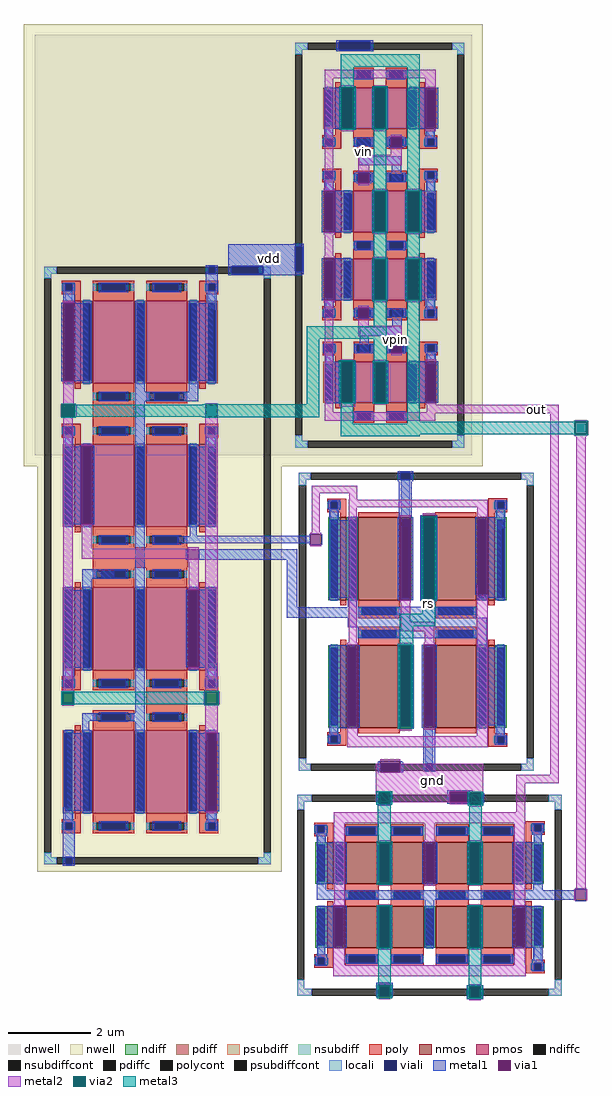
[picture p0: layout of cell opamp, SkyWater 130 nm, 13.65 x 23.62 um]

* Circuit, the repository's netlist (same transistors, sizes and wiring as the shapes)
* NGSPICE file created from opamp.ext - technology: sky130A

.subckt sky130_fd_pr__nfet_01v8_6MBC9T a_n29_n100# a_n247_n100# a_189_n100# a_n189_n188#
+ a_29_n188# VSUBS
X0 a_n29_n100# a_n189_n188# a_n247_n100# VSUBS sky130_fd_pr__nfet_01v8 ad=0.145 pd=1.29 as=0.29 ps=2.58 w=1 l=0.8
X1 a_189_n100# a_29_n188# a_n29_n100# VSUBS sky130_fd_pr__nfet_01v8 ad=0.29 pd=2.58 as=0.145 ps=1.29 w=1 l=0.8
.ends

.subckt sky130_fd_pr__nfet_01v8_SJFSNB a_n73_n100# a_15_n100# a_n15_n126# VSUBS
X0 a_15_n100# a_n15_n126# a_n73_n100# VSUBS sky130_fd_pr__nfet_01v8 ad=0.29 pd=2.58 as=0.29 ps=2.58 w=1 l=0.15
.ends

.subckt nmoscs2 d9 gnd d8
Xsky130_fd_pr__nfet_01v8_6MBC9T_0 gnd d8 d9 d8 d8 gnd sky130_fd_pr__nfet_01v8_6MBC9T
Xsky130_fd_pr__nfet_01v8_6MBC9T_1 gnd d9 d8 d8 d8 gnd sky130_fd_pr__nfet_01v8_6MBC9T
Xsky130_fd_pr__nfet_01v8_6MBC9T_2 gnd d8 d9 d8 d8 gnd sky130_fd_pr__nfet_01v8_6MBC9T
Xsky130_fd_pr__nfet_01v8_SJFSNB_0 d9 d9 d9 gnd sky130_fd_pr__nfet_01v8_SJFSNB
Xsky130_fd_pr__nfet_01v8_6MBC9T_3 gnd d9 d8 d8 d8 gnd sky130_fd_pr__nfet_01v8_6MBC9T
Xsky130_fd_pr__nfet_01v8_SJFSNB_1 d8 d8 d8 gnd sky130_fd_pr__nfet_01v8_SJFSNB
Xsky130_fd_pr__nfet_01v8_SJFSNB_2 d9 d9 d9 gnd sky130_fd_pr__nfet_01v8_SJFSNB
Xsky130_fd_pr__nfet_01v8_SJFSNB_3 d8 d8 d8 gnd sky130_fd_pr__nfet_01v8_SJFSNB
.ends

.subckt sky130_fd_pr__pfet_01v8_2ZH9AN a_15_n200# a_n15_n226# a_n73_n200# w_n109_n262#
X0 a_15_n200# a_n15_n226# a_n73_n200# w_n109_n262# sky130_fd_pr__pfet_01v8 ad=0.58 pd=4.58 as=0.58 ps=4.58 w=2 l=0.15
.ends

.subckt sky130_fd_pr__pfet_01v8_SDE6B7 a_29_n297# a_n287_n200# a_n229_n297# a_229_n200#
+ a_n29_n200# w_n323_n300#
X0 a_229_n200# a_29_n297# a_n29_n200# w_n323_n300# sky130_fd_pr__pfet_01v8 ad=0.58 pd=4.58 as=0.29 ps=2.29 w=2 l=1
X1 a_n29_n200# a_n229_n297# a_n287_n200# w_n323_n300# sky130_fd_pr__pfet_01v8 ad=0.29 pd=2.29 as=0.58 ps=4.58 w=2 l=1
.ends

.subckt pmoscs VDD D1 D2 D5
Xsky130_fd_pr__pfet_01v8_2ZH9AN_0 D5 D5 D5 VDD sky130_fd_pr__pfet_01v8_2ZH9AN
Xsky130_fd_pr__pfet_01v8_2ZH9AN_1 VDD VDD VDD VDD sky130_fd_pr__pfet_01v8_2ZH9AN
Xsky130_fd_pr__pfet_01v8_2ZH9AN_2 D2 D2 D2 VDD sky130_fd_pr__pfet_01v8_2ZH9AN
Xsky130_fd_pr__pfet_01v8_2ZH9AN_3 D2 D2 D2 VDD sky130_fd_pr__pfet_01v8_2ZH9AN
Xsky130_fd_pr__pfet_01v8_2ZH9AN_4 D1 D1 D1 VDD sky130_fd_pr__pfet_01v8_2ZH9AN
Xsky130_fd_pr__pfet_01v8_2ZH9AN_5 D1 D1 D1 VDD sky130_fd_pr__pfet_01v8_2ZH9AN
Xsky130_fd_pr__pfet_01v8_2ZH9AN_6 VDD VDD VDD VDD sky130_fd_pr__pfet_01v8_2ZH9AN
Xsky130_fd_pr__pfet_01v8_2ZH9AN_7 D5 D5 D5 VDD sky130_fd_pr__pfet_01v8_2ZH9AN
Xsky130_fd_pr__pfet_01v8_SDE6B7_0 VDD D5 D2 VDD VDD VDD sky130_fd_pr__pfet_01v8_SDE6B7
Xsky130_fd_pr__pfet_01v8_SDE6B7_1 D2 D1 D2 D2 VDD VDD sky130_fd_pr__pfet_01v8_SDE6B7
Xsky130_fd_pr__pfet_01v8_SDE6B7_2 D2 D2 D2 D1 VDD VDD sky130_fd_pr__pfet_01v8_SDE6B7
Xsky130_fd_pr__pfet_01v8_SDE6B7_3 D2 VDD VDD D5 VDD VDD sky130_fd_pr__pfet_01v8_SDE6B7
.ends

.subckt sky130_fd_pr__pfet_01v8_BHVYY6 w_n223_n200# a_n29_n100# a_n187_n100# a_29_n197#
+ a_n129_n197# a_129_n100#
X0 a_129_n100# a_29_n197# a_n29_n100# w_n223_n200# sky130_fd_pr__pfet_01v8 ad=0.29 pd=2.58 as=0.145 ps=1.29 w=1 l=0.5
X1 a_n29_n100# a_n129_n197# a_n187_n100# w_n223_n200# sky130_fd_pr__pfet_01v8 ad=0.145 pd=1.29 as=0.29 ps=2.58 w=1 l=0.5
.ends

.subckt sky130_fd_pr__pfet_01v8_2XUZHN a_n73_n100# w_n109_n162# a_15_n100# a_n15_n126#
X0 a_15_n100# a_n15_n126# a_n73_n100# w_n109_n162# sky130_fd_pr__pfet_01v8 ad=0.29 pd=2.58 as=0.29 ps=2.58 w=1 l=0.15
.ends

.subckt differential vdd d6 vin out vpin d5
Xsky130_fd_pr__pfet_01v8_BHVYY6_2 vdd d5 out vin vpin d6 sky130_fd_pr__pfet_01v8_BHVYY6
Xsky130_fd_pr__pfet_01v8_BHVYY6_3 vdd d5 d6 vpin vin out sky130_fd_pr__pfet_01v8_BHVYY6
Xsky130_fd_pr__pfet_01v8_2XUZHN_0 d6 vdd d6 d6 sky130_fd_pr__pfet_01v8_2XUZHN
Xsky130_fd_pr__pfet_01v8_2XUZHN_1 out vdd out out sky130_fd_pr__pfet_01v8_2XUZHN
Xsky130_fd_pr__pfet_01v8_2XUZHN_2 d6 vdd d6 d6 sky130_fd_pr__pfet_01v8_2XUZHN
Xsky130_fd_pr__pfet_01v8_2XUZHN_3 out vdd out out sky130_fd_pr__pfet_01v8_2XUZHN
Xsky130_fd_pr__pfet_01v8_2XUZHN_4 d6 vdd d6 d6 sky130_fd_pr__pfet_01v8_2XUZHN
Xsky130_fd_pr__pfet_01v8_2XUZHN_5 out vdd out out sky130_fd_pr__pfet_01v8_2XUZHN
Xsky130_fd_pr__pfet_01v8_2XUZHN_6 d6 vdd d6 d6 sky130_fd_pr__pfet_01v8_2XUZHN
Xsky130_fd_pr__pfet_01v8_2XUZHN_7 out vdd out out sky130_fd_pr__pfet_01v8_2XUZHN
Xsky130_fd_pr__pfet_01v8_BHVYY6_0 vdd d5 d6 vpin vin out sky130_fd_pr__pfet_01v8_BHVYY6
Xsky130_fd_pr__pfet_01v8_BHVYY6_1 vdd d5 out vin vpin d6 sky130_fd_pr__pfet_01v8_BHVYY6
.ends

.subckt sky130_fd_pr__nfet_01v8_Q6296P a_n286_n257# a_n86_n231# a_28_n231# a_n344_n231#
+ a_86_n257# a_286_n231# VSUBS
X0 a_n86_n231# a_n286_n257# a_n344_n231# VSUBS sky130_fd_pr__nfet_01v8 ad=0.58 pd=4.58 as=0.58 ps=4.58 w=2 l=1
X1 a_286_n231# a_86_n257# a_28_n231# VSUBS sky130_fd_pr__nfet_01v8 ad=0.58 pd=4.58 as=0.58 ps=4.58 w=2 l=1
.ends

.subckt sky130_fd_pr__nfet_01v8_4HFSKE a_15_n200# a_n15_n226# a_n73_n200# VSUBS
X0 a_15_n200# a_n15_n226# a_n73_n200# VSUBS sky130_fd_pr__nfet_01v8 ad=0.58 pd=4.58 as=0.58 ps=4.58 w=2 l=0.15
.ends

.subckt sky130_fd_pr__nfet_01v8_TC9PLT a_15_n200# a_n15_n226# a_n73_n200# VSUBS
X0 a_15_n200# a_n15_n226# a_n73_n200# VSUBS sky130_fd_pr__nfet_01v8 ad=0.58 pd=4.58 as=0.58 ps=4.58 w=2 l=0.15
.ends

.subckt sky130_fd_pr__nfet_01v8_27FZYL a_n286_n257# a_286_n169# a_n86_n169# a_86_n257#
+ a_28_n169# a_n344_n169# VSUBS
X0 a_286_n169# a_86_n257# a_28_n169# VSUBS sky130_fd_pr__nfet_01v8 ad=0.58 pd=4.58 as=0.58 ps=4.58 w=2 l=1
X1 a_n86_n169# a_n286_n257# a_n344_n169# VSUBS sky130_fd_pr__nfet_01v8 ad=0.58 pd=4.58 as=0.58 ps=4.58 w=2 l=1
.ends

.subckt nmoscs d3 rs d4 gnd
Xsky130_fd_pr__nfet_01v8_Q6296P_0 d3 rs gnd d4 d3 d3 gnd sky130_fd_pr__nfet_01v8_Q6296P
Xsky130_fd_pr__nfet_01v8_4HFSKE_0 d3 d3 d3 gnd sky130_fd_pr__nfet_01v8_4HFSKE
Xsky130_fd_pr__nfet_01v8_TC9PLT_0 d4 d4 d4 gnd sky130_fd_pr__nfet_01v8_TC9PLT
Xsky130_fd_pr__nfet_01v8_TC9PLT_1 d4 d4 d4 gnd sky130_fd_pr__nfet_01v8_TC9PLT
Xsky130_fd_pr__nfet_01v8_27FZYL_0 d3 d4 gnd d3 rs d3 gnd sky130_fd_pr__nfet_01v8_27FZYL
Xsky130_fd_pr__nfet_01v8_TC9PLT_2 d3 d3 d3 gnd sky130_fd_pr__nfet_01v8_TC9PLT
.ends

.subckt opamp gnd out vpin rs vin
Xnmoscs2_0 out gnd nmoscs2_0/d8 nmoscs2
Xpmoscs_0 vin pmoscs_0/D1 pmoscs_0/D2 pmoscs_0/D5 pmoscs
Xdifferential_0 vin nmoscs2_0/d8 differential_0/vin out vpin pmoscs_0/D5 differential
Xnmoscs_0 pmoscs_0/D1 rs pmoscs_0/D2 gnd nmoscs
.ends

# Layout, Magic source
magic
tech sky130A
magscale 1 2
<< dnwell >>
rect -10 2016 2104 4050
<< nwell >>
rect -63 1963 2157 4103
<< viali >>
rect 939 2895 1094 2931
rect 1249 2903 1285 3027
rect 1662 488 1760 524
rect 1998 336 2096 388
<< metal1 >>
rect 1243 3037 1291 3039
rect 925 3027 1291 3037
rect 925 2931 1249 3027
rect 925 2895 939 2931
rect 1094 2903 1249 2931
rect 1285 2903 1291 3027
rect 1094 2895 1291 2903
rect 1420 2896 1421 2958
rect 925 2891 1291 2895
rect 925 2888 1284 2891
rect 1317 1627 1323 1634
rect 740 1589 1323 1627
rect 1317 1582 1323 1589
rect 1375 1582 1381 1634
rect 719 1509 729 1561
rect 783 1509 1260 1561
rect 1208 1281 1260 1509
rect 1208 1229 1656 1281
rect 1651 530 1661 534
rect 1650 482 1661 530
rect 1759 530 1769 534
rect 1759 524 1772 530
rect 1760 488 1772 524
rect 1759 482 1772 488
rect 1986 388 2108 394
rect 1986 336 1998 388
rect 2096 336 2108 388
rect 1986 330 2108 336
rect 2606 -85 2658 -79
rect 2401 -135 2606 -89
rect 2606 -143 2658 -137
<< via1 >>
rect 1323 1582 1375 1634
rect 729 1509 783 1561
rect 1661 524 1759 534
rect 1661 488 1662 524
rect 1662 488 1759 524
rect 1661 482 1759 488
rect 1998 336 2096 388
rect 2606 -137 2658 -85
<< metal2 >>
rect 1714 2566 1766 2594
rect 1886 2219 2525 2261
rect 1330 1831 1549 1869
rect 1330 1640 1368 1831
rect 1511 1763 1549 1831
rect 1323 1634 1375 1640
rect 1323 1576 1375 1582
rect 729 1561 783 1571
rect 729 1499 783 1509
rect 1661 534 1759 544
rect 1640 482 1661 523
rect 1759 482 2161 523
rect 1640 388 2161 482
rect 2483 470 2525 2219
rect 2602 2177 2662 2186
rect 2602 2108 2662 2117
rect 1640 337 1998 388
rect 2096 337 2161 388
rect 2320 428 2525 470
rect 1998 326 2096 336
rect 2320 231 2362 428
rect 2609 -85 2655 2108
rect 2600 -137 2606 -85
rect 2658 -137 2664 -85
<< via2 >>
rect 2602 2117 2662 2177
<< metal3 >>
rect 1305 2579 1693 2641
rect 1305 2262 1367 2579
rect 800 2200 1367 2262
rect 2597 2177 2667 2182
rect 1794 2117 2602 2177
rect 2662 2117 2667 2177
rect 2597 2112 2667 2117
rect 1865 1283 1927 1310
rect 1755 1109 1822 1129
use differential  differential_0
transform 1 0 1437 0 1 3495
box -223 -1479 668 554
use nmoscs2  nmoscs2_0
transform 1 0 1435 0 1 -456
box -176 -165 1106 851
use nmoscs  nmoscs_0
transform 1 0 1497 0 1 1227
box -229 -744 908 711
use pmoscs  pmoscs_0
transform 1 0 176 0 1 1526
box -176 -1526 1008 1439
<< labels >>
flabel metal2 1913 443 1913 443 0 FreeSans 1600 0 0 0 gnd
port 5 nsew
flabel metal2 2418 2238 2418 2238 0 FreeSans 320 0 0 0 out
port 7 nsew
flabel metal2 1734 2578 1734 2578 0 FreeSans 320 0 0 0 vpin
port 8 nsew
flabel nwell 1580 3486 1580 3486 0 FreeSans 320 0 0 0 vin
port 9 nsew
flabel metal3 1895 1296 1895 1296 0 FreeSans 320 0 0 0 rs
port 10 nsew
flabel metal1 1125 2966 1125 2966 0 FreeSans 320 0 0 0 vdd
port 12 nsew
<< end >>

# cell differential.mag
magic
tech sky130A
magscale 1 2
<< nwell >>
rect -223 -1479 668 554
<< nsubdiff >>
rect -187 484 -127 518
rect 572 484 632 518
rect -187 462 -153 484
rect 598 462 632 484
rect -187 -1409 -153 -1383
rect 598 -1409 632 -1383
rect -187 -1443 -127 -1409
rect 572 -1443 632 -1409
<< nsubdiffcont >>
rect -127 484 572 518
rect -187 -1383 -153 462
rect 598 -1383 632 462
rect -127 -1443 572 -1409
<< poly >>
rect 6 69 36 75
rect -56 53 36 69
rect -56 19 -40 53
rect -6 19 36 53
rect -56 3 36 19
rect 410 69 440 88
rect 410 53 501 69
rect 410 19 451 53
rect 485 19 501 53
rect 410 3 501 19
rect -56 -108 36 -92
rect -56 -142 -40 -108
rect -6 -142 36 -108
rect -56 -158 36 -142
rect 6 -175 36 -158
rect 410 -108 502 -92
rect 410 -142 452 -108
rect 486 -142 502 -108
rect 410 -158 502 -142
rect 410 -175 440 -158
rect 6 -759 36 -746
rect 415 -753 440 -752
rect -56 -775 36 -759
rect -56 -809 -40 -775
rect -6 -809 36 -775
rect -56 -825 36 -809
rect 410 -760 440 -753
rect 410 -776 501 -760
rect 410 -810 451 -776
rect 485 -810 501 -776
rect 410 -826 501 -810
rect -55 -945 37 -929
rect -55 -979 -39 -945
rect -5 -979 37 -945
rect -55 -995 37 -979
rect 7 -1000 37 -995
rect 411 -945 503 -929
rect 411 -979 453 -945
rect 487 -979 503 -945
rect 411 -995 503 -979
rect 411 -1000 441 -995
<< polycont >>
rect -40 19 -6 53
rect 451 19 485 53
rect -40 -142 -6 -108
rect 452 -142 486 -108
rect -40 -809 -6 -775
rect 451 -810 485 -776
rect -39 -979 -5 -945
rect 453 -979 487 -945
<< locali >>
rect -187 484 -127 518
rect 572 484 632 518
rect -187 462 -153 484
rect 598 462 632 484
rect -40 53 -6 129
rect 451 53 485 136
rect -56 19 -40 53
rect -6 19 10 53
rect 435 19 451 53
rect 485 19 501 53
rect 452 -108 486 -107
rect -56 -142 -40 -108
rect -6 -142 10 -108
rect 436 -142 452 -108
rect 486 -142 502 -108
rect -40 -229 -6 -142
rect 452 -231 486 -142
rect -40 -775 -6 -697
rect -56 -809 -40 -775
rect -6 -809 10 -775
rect 451 -776 486 -699
rect -40 -810 -6 -809
rect 435 -810 451 -776
rect 485 -810 501 -776
rect -55 -979 -39 -945
rect -5 -979 11 -945
rect 437 -979 453 -945
rect 487 -979 503 -945
rect -39 -1067 -5 -979
rect 453 -1063 487 -979
rect -187 -1409 -153 -1383
rect 598 -1409 632 -1383
rect -187 -1443 -127 -1409
rect 572 -1443 632 -1409
<< viali >>
rect 24 518 179 523
rect 24 484 179 518
rect 24 483 179 484
rect -40 19 -6 53
rect 451 19 485 53
rect -40 -142 -6 -108
rect 452 -142 486 -108
rect -40 -809 -6 -775
rect 451 -810 485 -776
rect -39 -979 -5 -945
rect 453 -979 487 -945
<< metal1 >>
rect 12 523 191 529
rect 12 483 24 523
rect 179 483 191 523
rect 12 477 191 483
rect -37 129 39 300
rect -46 101 39 129
rect 91 101 101 300
rect -46 59 -2 101
rect 185 100 195 301
rect 251 100 261 301
rect 368 100 442 300
rect 494 100 504 300
rect -52 53 6 59
rect 121 53 166 59
rect -52 19 -40 53
rect -6 19 6 53
rect 110 19 178 53
rect -52 13 6 19
rect 121 -31 166 19
rect 266 10 276 62
rect 328 10 338 62
rect 445 59 489 100
rect 439 53 497 59
rect 439 19 451 53
rect 485 19 497 53
rect 439 13 497 19
rect 121 -76 325 -31
rect -52 -108 6 -102
rect -52 -142 -40 -108
rect -6 -142 6 -108
rect -52 -148 6 -142
rect -46 -200 0 -148
rect 108 -162 118 -110
rect 170 -162 180 -110
rect 280 -159 325 -76
rect 440 -108 498 -102
rect 440 -142 452 -108
rect 486 -142 498 -108
rect 440 -148 498 -142
rect 447 -199 490 -148
rect -59 -401 -49 -200
rect 3 -400 75 -200
rect 185 -400 195 -200
rect 251 -400 261 -200
rect 346 -400 356 -199
rect 408 -237 490 -199
rect 408 -400 481 -237
rect 3 -401 13 -400
rect -59 -728 -49 -527
rect 3 -728 79 -527
rect 367 -528 482 -527
rect 185 -728 195 -528
rect 251 -728 261 -528
rect 345 -728 355 -528
rect 407 -699 482 -528
rect 407 -728 491 -699
rect -47 -769 0 -728
rect -52 -775 6 -769
rect -52 -809 -40 -775
rect -6 -809 6 -775
rect -52 -815 6 -809
rect 107 -818 117 -766
rect 169 -818 179 -766
rect 283 -857 328 -769
rect 445 -770 491 -728
rect 439 -776 497 -770
rect 439 -810 451 -776
rect 485 -810 497 -776
rect 439 -816 497 -810
rect 124 -902 328 -857
rect -51 -945 7 -939
rect -51 -979 -39 -945
rect -5 -979 7 -945
rect -51 -985 7 -979
rect 124 -985 169 -902
rect 267 -985 277 -933
rect 329 -985 339 -933
rect 441 -945 499 -939
rect 441 -979 453 -945
rect 487 -979 499 -945
rect 441 -985 499 -979
rect -43 -1026 -1 -985
rect 448 -1024 492 -985
rect 434 -1025 444 -1024
rect -43 -1068 35 -1026
rect -36 -1226 35 -1068
rect 95 -1226 105 -1026
rect 187 -1226 197 -1026
rect 252 -1226 262 -1026
rect 371 -1225 444 -1025
rect 496 -1225 506 -1024
rect 371 -1226 486 -1225
rect -36 -1227 79 -1226
<< via1 >>
rect 39 101 91 300
rect 195 100 251 301
rect 442 100 494 300
rect 276 10 328 62
rect 118 -162 170 -110
rect -49 -401 3 -200
rect 195 -400 251 -200
rect 356 -400 408 -199
rect -49 -728 3 -527
rect 195 -728 251 -528
rect 355 -728 407 -528
rect 117 -818 169 -766
rect 277 -985 329 -933
rect 35 -1226 95 -1026
rect 197 -1226 252 -1026
rect 444 -1225 496 -1024
<< metal2 >>
rect -44 345 494 386
rect -44 -190 -3 345
rect 35 301 95 311
rect 35 90 95 100
rect 195 301 251 311
rect 195 90 251 100
rect 442 300 494 345
rect 442 90 494 100
rect 276 62 328 72
rect 276 -24 328 10
rect 118 -76 328 -24
rect 118 -110 170 -76
rect 118 -172 170 -162
rect -49 -200 3 -190
rect -49 -411 3 -401
rect 195 -200 251 -190
rect 195 -410 251 -400
rect 355 -199 415 -189
rect 355 -410 415 -400
rect -44 -517 -3 -411
rect -49 -527 3 -517
rect -49 -738 3 -728
rect 195 -528 251 -518
rect 356 -519 416 -518
rect 195 -738 251 -728
rect 355 -528 416 -519
rect 355 -729 356 -728
rect 355 -737 416 -729
rect -44 -929 -3 -738
rect 356 -739 416 -737
rect 117 -766 169 -756
rect 117 -852 169 -818
rect 117 -904 329 -852
rect -46 -938 -3 -929
rect 277 -933 329 -904
rect -46 -995 -5 -938
rect 277 -995 329 -985
rect -44 -1004 -5 -995
rect -44 -1272 -3 -1004
rect 34 -1017 94 -1015
rect 34 -1025 95 -1017
rect 94 -1026 95 -1025
rect 27 -1226 34 -1216
rect 197 -1026 253 -1016
rect 95 -1226 103 -1216
rect 27 -1244 103 -1226
rect 197 -1236 253 -1226
rect 444 -1024 496 -1014
rect 444 -1235 496 -1225
rect 449 -1272 491 -1235
rect -44 -1313 491 -1272
<< via2 >>
rect 35 300 95 301
rect 35 101 39 300
rect 39 101 91 300
rect 91 101 95 300
rect 35 100 95 101
rect 195 100 251 301
rect 195 -400 251 -200
rect 355 -400 356 -199
rect 356 -400 408 -199
rect 408 -400 415 -199
rect 195 -728 251 -528
rect 356 -728 407 -528
rect 407 -728 416 -528
rect 356 -729 416 -728
rect 34 -1026 94 -1025
rect 34 -1226 35 -1026
rect 35 -1226 94 -1026
rect 197 -1226 252 -1026
rect 252 -1226 253 -1026
<< metal3 >>
rect 34 400 415 461
rect 34 306 95 400
rect 25 301 105 306
rect 25 100 35 301
rect 95 100 105 301
rect 25 95 105 100
rect 185 301 261 306
rect 185 100 195 301
rect 251 100 261 301
rect 185 95 261 100
rect 193 -195 253 95
rect 354 -194 415 400
rect 185 -200 261 -195
rect 185 -400 195 -200
rect 251 -400 261 -200
rect 185 -405 261 -400
rect 345 -199 425 -194
rect 345 -400 355 -199
rect 415 -400 425 -199
rect 345 -405 425 -400
rect 193 -523 253 -405
rect 354 -523 415 -405
rect 185 -528 261 -523
rect 185 -728 195 -528
rect 251 -728 261 -528
rect 185 -733 261 -728
rect 346 -528 426 -523
rect 346 -729 356 -528
rect 416 -729 426 -528
rect 32 -1020 93 -1019
rect 24 -1025 104 -1020
rect 194 -1021 255 -733
rect 346 -734 426 -729
rect 24 -1226 34 -1025
rect 94 -1226 104 -1025
rect 24 -1231 104 -1226
rect 187 -1026 263 -1021
rect 187 -1226 197 -1026
rect 253 -1226 263 -1026
rect 187 -1231 263 -1226
rect 32 -1326 93 -1231
rect 354 -1326 415 -734
rect 32 -1387 415 -1326
use sky130_fd_pr__pfet_01v8_2XUZHN  sky130_fd_pr__pfet_01v8_2XUZHN_0
transform 1 0 22 0 1 -1126
box -109 -162 109 162
use sky130_fd_pr__pfet_01v8_2XUZHN  sky130_fd_pr__pfet_01v8_2XUZHN_1
transform 1 0 425 0 1 200
box -109 -162 109 162
use sky130_fd_pr__pfet_01v8_2XUZHN  sky130_fd_pr__pfet_01v8_2XUZHN_2
transform 1 0 21 0 1 200
box -109 -162 109 162
use sky130_fd_pr__pfet_01v8_2XUZHN  sky130_fd_pr__pfet_01v8_2XUZHN_3
transform 1 0 21 0 1 -300
box -109 -162 109 162
use sky130_fd_pr__pfet_01v8_2XUZHN  sky130_fd_pr__pfet_01v8_2XUZHN_4
transform 1 0 425 0 1 -300
box -109 -162 109 162
use sky130_fd_pr__pfet_01v8_2XUZHN  sky130_fd_pr__pfet_01v8_2XUZHN_5
transform 1 0 21 0 1 -628
box -109 -162 109 162
use sky130_fd_pr__pfet_01v8_2XUZHN  sky130_fd_pr__pfet_01v8_2XUZHN_6
transform 1 0 425 0 1 -628
box -109 -162 109 162
use sky130_fd_pr__pfet_01v8_2XUZHN  sky130_fd_pr__pfet_01v8_2XUZHN_7
transform 1 0 426 0 1 -1126
box -109 -162 109 162
use sky130_fd_pr__pfet_01v8_BHVYY6  sky130_fd_pr__pfet_01v8_BHVYY6_0
transform 1 0 223 0 1 200
box -223 -200 223 200
use sky130_fd_pr__pfet_01v8_BHVYY6  sky130_fd_pr__pfet_01v8_BHVYY6_1
transform 1 0 223 0 1 -300
box -223 -200 223 200
use sky130_fd_pr__pfet_01v8_BHVYY6  sky130_fd_pr__pfet_01v8_BHVYY6_2
transform 1 0 223 0 1 -628
box -223 -200 223 200
use sky130_fd_pr__pfet_01v8_BHVYY6  sky130_fd_pr__pfet_01v8_BHVYY6_3
transform 1 0 224 0 1 -1126
box -223 -200 223 200
<< labels >>
flabel viali 105 502 105 502 0 FreeSans 320 0 0 0 vdd
port 0 nsew
flabel metal3 65 425 65 425 0 FreeSans 320 0 0 0 d6
port 1 nsew
flabel metal1 142 -7 142 -7 0 FreeSans 320 0 0 0 vin
port 4 nsew
flabel metal1 426 234 426 234 0 FreeSans 320 0 0 0 out
port 8 nsew
flabel metal2 299 -917 299 -917 0 FreeSans 320 0 0 0 vpin
port 9 nsew
flabel metal3 224 -994 224 -994 0 FreeSans 320 0 0 0 d5
port 10 nsew
<< end >>

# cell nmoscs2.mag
magic
tech sky130A
magscale 1 2
<< psubdiff >>
rect -176 795 -106 829
rect 1042 795 1106 829
rect -176 756 -142 795
rect 1072 756 1106 795
rect -176 -110 -142 -67
rect 1072 -110 1106 -67
rect -176 -144 -106 -110
rect 1042 -144 1106 -110
<< psubdiffcont >>
rect -106 795 1042 829
rect -176 -67 -142 756
rect 1072 -67 1106 756
rect -106 -144 1042 -110
<< poly >>
rect -94 678 0 694
rect -94 644 -78 678
rect -44 644 0 678
rect -94 628 0 644
rect -30 623 0 628
rect 930 685 1022 701
rect 930 651 972 685
rect 1006 651 1022 685
rect 930 635 1022 651
rect 930 624 960 635
rect -30 56 0 88
rect -92 40 0 56
rect -92 6 -76 40
rect -42 6 0 40
rect -92 -10 0 6
rect 930 30 960 62
rect 930 14 1022 30
rect 930 -20 972 14
rect 1006 -20 1022 14
rect 930 -36 1022 -20
<< polycont >>
rect -78 644 -44 678
rect 972 651 1006 685
rect -76 6 -42 40
rect 972 -20 1006 14
<< locali >>
rect -176 795 -106 829
rect 1042 795 1106 829
rect -176 756 -142 795
rect 1072 756 1106 795
rect 972 685 1006 686
rect -94 644 -78 678
rect -44 644 -28 678
rect 956 651 972 685
rect 1006 651 1022 685
rect -79 627 -34 644
rect 962 634 1007 651
rect -76 567 -41 627
rect 969 624 1006 634
rect 972 568 1006 624
rect -76 67 -42 88
rect -76 57 -39 67
rect -77 40 -32 57
rect 972 41 1006 104
rect -92 6 -76 40
rect -42 6 -26 40
rect 969 31 1006 41
rect 962 14 1007 31
rect -76 5 -42 6
rect 956 -20 972 14
rect 1006 -20 1022 14
rect 972 -21 1006 -20
rect -176 -110 -142 -67
rect 275 -110 280 -109
rect 1072 -110 1106 -67
rect -176 -144 -106 -110
rect 1042 -144 1106 -110
<< viali >>
rect 220 829 272 838
rect 220 795 272 829
rect 658 795 717 829
rect 220 786 272 795
rect -78 644 -44 678
rect 972 651 1006 685
rect -76 6 -42 40
rect 972 -20 1006 14
rect 219 -110 275 -88
rect 657 -110 713 -99
rect 219 -144 275 -110
rect 657 -144 713 -110
rect 657 -155 713 -144
<< metal1 >>
rect 208 838 284 844
rect 208 786 220 838
rect 272 786 284 838
rect 646 829 661 835
rect 713 829 729 835
rect 646 795 658 829
rect 717 795 729 829
rect 646 789 661 795
rect 208 780 284 786
rect 651 783 661 789
rect 713 789 729 795
rect 713 783 723 789
rect 960 685 1018 691
rect -90 678 -32 684
rect -90 644 -78 678
rect -44 644 -30 678
rect 958 651 972 685
rect 1006 651 1018 685
rect 959 645 1018 651
rect -90 638 -31 644
rect -83 627 -31 638
rect 959 634 1011 645
rect -80 599 -38 627
rect -82 597 -36 599
rect -7 597 65 599
rect -82 399 65 597
rect 211 410 221 586
rect 273 410 283 586
rect -82 366 -36 399
rect -7 397 65 399
rect 429 397 439 599
rect 492 397 502 599
rect 969 598 1008 634
rect 647 398 657 598
rect 709 398 719 598
rect 865 399 1012 598
rect 865 398 937 399
rect 966 366 1012 399
rect -82 320 1012 366
rect -10 288 0 290
rect -73 88 0 288
rect 54 88 64 290
rect 211 88 221 289
rect 273 88 283 289
rect 442 88 488 320
rect 647 88 657 289
rect 709 88 719 289
rect 866 88 876 290
rect 928 289 938 290
rect 928 288 1002 289
rect 928 88 1012 288
rect -78 57 -39 88
rect -81 46 -29 57
rect -88 40 -29 46
rect -88 6 -76 40
rect -42 6 -28 40
rect 966 32 1012 88
rect 961 31 1012 32
rect 959 20 1012 31
rect 959 14 1018 20
rect -88 0 -30 6
rect 958 -20 972 14
rect 1006 -20 1018 14
rect 960 -26 1018 -20
rect 207 -88 287 -82
rect 207 -144 219 -88
rect 275 -144 287 -88
rect 207 -150 287 -144
rect 645 -99 725 -93
rect 645 -155 657 -99
rect 713 -155 725 -99
rect 645 -161 725 -155
<< via1 >>
rect 220 786 272 838
rect 661 829 713 835
rect 661 795 713 829
rect 661 783 713 795
rect 221 410 273 586
rect 439 397 492 599
rect 657 398 709 598
rect 0 88 54 290
rect 221 88 273 289
rect 657 88 709 289
rect 876 88 928 290
rect 219 -144 275 -88
rect 657 -155 713 -99
<< metal2 >>
rect 218 841 274 851
rect 218 775 274 785
rect 659 837 715 847
rect 659 771 715 781
rect 2 691 926 743
rect 2 397 54 691
rect 442 609 489 691
rect 219 598 275 608
rect 3 300 55 397
rect 219 387 275 397
rect 439 599 492 609
rect 439 387 492 397
rect 657 598 713 608
rect 657 388 713 398
rect 874 398 926 691
rect 0 291 55 300
rect 0 290 54 291
rect 0 4 54 88
rect 219 289 275 299
rect 219 78 275 88
rect 657 289 713 299
rect 874 291 928 398
rect 874 290 929 291
rect 657 78 713 88
rect 875 88 876 290
rect 928 88 929 290
rect 875 4 929 88
rect 0 -50 930 4
rect 219 -88 275 -78
rect 219 -162 275 -152
rect 657 -99 713 -89
rect 657 -165 713 -155
<< via2 >>
rect 218 838 274 841
rect 218 786 220 838
rect 220 786 272 838
rect 272 786 274 838
rect 218 785 274 786
rect 659 835 715 837
rect 659 783 661 835
rect 661 783 713 835
rect 713 783 715 835
rect 659 781 715 783
rect 219 586 275 598
rect 219 410 221 586
rect 221 410 273 586
rect 273 410 275 586
rect 219 397 275 410
rect 657 398 709 598
rect 709 398 713 598
rect 219 88 221 289
rect 221 88 273 289
rect 273 88 275 289
rect 657 88 709 289
rect 709 88 713 289
rect 219 -144 275 -96
rect 219 -152 275 -144
rect 657 -155 713 -99
<< metal3 >>
rect 208 841 284 846
rect 208 785 218 841
rect 274 785 284 841
rect 208 780 284 785
rect 649 837 725 842
rect 649 781 659 837
rect 715 781 725 837
rect 215 603 277 780
rect 649 776 725 781
rect 657 603 717 776
rect 209 598 285 603
rect 209 397 219 598
rect 275 397 285 598
rect 209 392 285 397
rect 647 598 723 603
rect 647 398 657 598
rect 713 398 723 598
rect 647 393 723 398
rect 209 289 285 294
rect 209 88 219 289
rect 275 88 285 289
rect 209 83 285 88
rect 647 289 723 294
rect 647 88 657 289
rect 713 88 723 289
rect 647 83 723 88
rect 216 -91 278 83
rect 209 -96 285 -91
rect 655 -94 716 83
rect 209 -152 219 -96
rect 275 -152 285 -96
rect 209 -157 285 -152
rect 647 -99 723 -94
rect 647 -155 657 -99
rect 713 -155 723 -99
rect 647 -160 723 -155
use sky130_fd_pr__nfet_01v8_6MBC9T  sky130_fd_pr__nfet_01v8_6MBC9T_0
transform 1 0 683 0 1 188
box -247 -188 247 188
use sky130_fd_pr__nfet_01v8_6MBC9T  sky130_fd_pr__nfet_01v8_6MBC9T_1
transform 1 0 247 0 1 188
box -247 -188 247 188
use sky130_fd_pr__nfet_01v8_6MBC9T  sky130_fd_pr__nfet_01v8_6MBC9T_2
transform 1 0 247 0 1 498
box -247 -188 247 188
use sky130_fd_pr__nfet_01v8_6MBC9T  sky130_fd_pr__nfet_01v8_6MBC9T_3
transform 1 0 683 0 1 498
box -247 -188 247 188
use sky130_fd_pr__nfet_01v8_SJFSNB  sky130_fd_pr__nfet_01v8_SJFSNB_0
transform 1 0 945 0 1 188
box -73 -126 73 126
use sky130_fd_pr__nfet_01v8_SJFSNB  sky130_fd_pr__nfet_01v8_SJFSNB_1
transform 1 0 -15 0 1 498
box -73 -126 73 126
use sky130_fd_pr__nfet_01v8_SJFSNB  sky130_fd_pr__nfet_01v8_SJFSNB_2
transform 1 0 -15 0 1 188
box -73 -126 73 126
use sky130_fd_pr__nfet_01v8_SJFSNB  sky130_fd_pr__nfet_01v8_SJFSNB_3
transform 1 0 945 0 1 498
box -73 -126 73 126
<< labels >>
flabel metal2 792 702 811 721 0 FreeSans 480 0 0 0 d9
port 0 nsew
flabel metal3 687 754 689 756 0 FreeSans 480 0 0 0 gnd
port 1 nsew
flabel metal1 980 340 982 342 0 FreeSans 480 0 0 0 d8
port 2 nsew
<< end >>

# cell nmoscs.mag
magic
tech sky130A
magscale 1 2
<< psubdiff >>
rect -229 670 -172 704
rect 848 670 908 704
rect -229 644 -195 670
rect 874 644 908 670
rect -229 -704 -195 -678
rect 874 -704 908 -678
rect -229 -738 -172 -704
rect 848 -738 908 -704
<< psubdiffcont >>
rect -172 670 848 704
rect -229 -678 -195 644
rect 874 -678 908 644
rect -172 -738 848 -704
<< poly >>
rect -92 564 0 578
rect -92 530 -76 564
rect -42 530 0 564
rect -92 514 0 530
rect 688 564 780 580
rect 688 530 730 564
rect 764 530 780 564
rect 688 514 780 530
rect -26 513 0 514
rect -92 -568 0 -552
rect -92 -602 -76 -568
rect -42 -602 0 -568
rect -92 -618 0 -602
rect 688 -572 780 -556
rect 688 -606 730 -572
rect 764 -606 780 -572
rect 688 -622 780 -606
<< polycont >>
rect -76 530 -42 564
rect 730 530 764 564
rect -76 -602 -42 -568
rect 730 -606 764 -572
<< locali >>
rect 730 704 764 705
rect -229 670 -172 704
rect 848 670 908 704
rect -229 644 -195 670
rect -92 530 -76 564
rect -42 530 -26 564
rect -77 457 -42 530
rect 265 442 307 670
rect 730 669 764 670
rect 874 644 908 670
rect 730 564 764 570
rect 714 530 730 564
rect 764 530 780 564
rect 729 432 764 530
rect -75 -568 -41 -478
rect -92 -602 -76 -568
rect -42 -602 -26 -568
rect -76 -603 -41 -602
rect -76 -609 -42 -603
rect -229 -704 -195 -678
rect 383 -704 419 -473
rect 730 -572 764 -505
rect 714 -606 730 -572
rect 764 -606 780 -572
rect 874 -704 908 -678
rect -229 -738 -172 -704
rect 848 -738 908 -704
<< viali >>
rect 261 704 313 705
rect 261 670 313 704
rect -76 530 -42 564
rect 730 530 764 564
rect -76 -602 -42 -568
rect 730 -606 764 -572
rect 384 -738 419 -704
<< metal1 >>
rect 249 705 325 711
rect 249 670 261 705
rect 313 670 325 705
rect 249 664 325 670
rect -88 564 -30 570
rect -88 530 -76 564
rect -42 530 -30 564
rect -88 524 -30 530
rect -83 475 -36 524
rect 6 475 52 492
rect 254 489 318 664
rect 718 564 776 570
rect 718 530 730 564
rect 764 530 776 564
rect 718 524 776 530
rect -83 451 52 475
rect -72 100 52 451
rect 6 56 52 100
rect 250 88 260 489
rect 313 88 323 489
rect 359 84 369 498
rect 431 84 441 498
rect 724 489 769 524
rect 623 113 633 489
rect 685 435 769 489
rect 685 113 752 435
rect 647 100 752 113
rect 6 3 630 56
rect 6 -43 679 3
rect 56 -98 679 -43
rect -72 -478 4 -130
rect -82 -530 4 -478
rect 56 -530 66 -130
rect -82 -532 50 -530
rect -82 -562 -38 -532
rect 249 -534 259 -129
rect 316 -534 326 -129
rect 365 -530 375 -129
rect 428 -530 438 -129
rect 633 -142 679 -98
rect 633 -505 759 -142
rect 633 -518 767 -505
rect 633 -530 679 -518
rect -88 -568 -30 -562
rect -88 -602 -76 -568
rect -42 -602 -30 -568
rect -88 -608 -30 -602
rect 372 -704 431 -530
rect 724 -566 767 -518
rect 718 -572 776 -566
rect 718 -606 730 -572
rect 764 -606 776 -572
rect 718 -612 776 -606
rect 372 -738 384 -704
rect 419 -738 431 -704
rect 372 -744 431 -738
<< via1 >>
rect 260 88 313 489
rect 369 84 431 498
rect 633 113 685 489
rect 4 -530 56 -130
rect 259 -534 316 -129
rect 375 -530 428 -129
<< metal2 >>
rect 13 536 685 574
rect 13 -120 51 536
rect 260 489 313 499
rect 260 78 313 88
rect 369 498 431 508
rect 633 489 685 536
rect 264 -18 310 78
rect 369 71 431 84
rect 632 113 633 162
rect 632 103 685 113
rect 264 -64 425 -18
rect 259 -119 315 -118
rect 379 -119 425 -64
rect 4 -130 56 -120
rect 4 -572 56 -530
rect 259 -128 316 -119
rect 315 -129 316 -128
rect 259 -544 316 -534
rect 375 -129 428 -119
rect 375 -540 428 -530
rect 632 -572 684 103
rect 4 -624 684 -572
<< via2 >>
rect 373 88 429 489
rect 259 -129 315 -128
rect 259 -529 315 -129
<< metal3 >>
rect 363 489 439 494
rect 363 88 373 489
rect 429 88 439 489
rect 363 83 439 88
rect 368 22 430 83
rect 258 -40 430 22
rect 258 -123 325 -40
rect 249 -128 325 -123
rect 249 -529 259 -128
rect 315 -529 325 -128
rect 249 -534 325 -529
use sky130_fd_pr__nfet_01v8_4HFSKE  sky130_fd_pr__nfet_01v8_4HFSKE_0
transform 1 0 -15 0 1 288
box -73 -226 73 226
use sky130_fd_pr__nfet_01v8_27FZYL  sky130_fd_pr__nfet_01v8_27FZYL_0
transform 1 0 344 0 1 257
box -344 -257 344 257
use sky130_fd_pr__nfet_01v8_Q6296P  sky130_fd_pr__nfet_01v8_Q6296P_0
transform 1 0 344 0 1 -299
box -344 -257 344 257
use sky130_fd_pr__nfet_01v8_TC9PLT  sky130_fd_pr__nfet_01v8_TC9PLT_0
transform 1 0 -15 0 1 -330
box -73 -226 73 226
use sky130_fd_pr__nfet_01v8_TC9PLT  sky130_fd_pr__nfet_01v8_TC9PLT_1
transform 1 0 703 0 1 288
box -73 -226 73 226
use sky130_fd_pr__nfet_01v8_TC9PLT  sky130_fd_pr__nfet_01v8_TC9PLT_2
transform 1 0 703 0 1 -330
box -73 -226 73 226
<< labels >>
flabel metal1 -20 319 -17 319 0 FreeSans 160 0 0 0 d3
port 1 nsew
flabel metal3 400 54 403 54 0 FreeSans 160 0 0 0 rs
port 2 nsew
flabel metal2 664 526 667 526 0 FreeSans 160 0 0 0 d4
port 3 nsew
flabel metal1 284 620 284 620 0 FreeSans 160 0 0 0 gnd
port 4 nsew
flabel metal1 403 -653 403 -653 0 FreeSans 160 0 0 0 gnd
port 5 nsew
<< end >>

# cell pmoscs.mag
magic
tech sky130A
magscale 1 2
<< nwell >>
rect -176 -1526 1008 1439
<< nsubdiff >>
rect -140 1369 -80 1403
rect 896 1369 956 1403
rect -140 1347 -106 1369
rect 922 1347 956 1369
rect -140 -1456 -106 -1434
rect 922 -1456 956 -1434
rect -140 -1490 -80 -1456
rect 896 -1490 956 -1456
<< nsubdiffcont >>
rect -80 1369 896 1403
rect -140 -1434 -106 1347
rect 922 -1434 956 1347
rect -80 -1490 896 -1456
<< poly >>
rect -56 1319 36 1335
rect -56 1285 -40 1319
rect -6 1285 36 1319
rect -56 1269 36 1285
rect 6 1264 36 1269
rect 610 1319 702 1335
rect 610 1285 652 1319
rect 686 1285 702 1319
rect 610 1269 702 1285
rect 610 1260 640 1269
rect 94 641 295 741
rect -56 625 36 641
rect -56 591 -40 625
rect -6 591 36 625
rect -56 575 36 591
rect 6 570 36 575
rect 610 625 702 641
rect 610 591 652 625
rect 686 591 702 625
rect 610 575 702 591
rect 610 570 640 575
rect 94 45 294 47
rect 352 45 553 48
rect 93 -53 553 45
rect 93 -55 551 -53
rect 6 -581 36 -575
rect -56 -597 36 -581
rect -56 -631 -40 -597
rect -6 -631 36 -597
rect -56 -647 36 -631
rect 610 -581 640 -576
rect 610 -597 702 -581
rect 610 -631 652 -597
rect 686 -631 702 -597
rect 352 -745 552 -646
rect 610 -647 702 -631
rect 6 -1273 36 -1267
rect -56 -1289 36 -1273
rect -56 -1323 -40 -1289
rect -6 -1323 36 -1289
rect -56 -1339 36 -1323
rect 610 -1273 640 -1267
rect 610 -1289 702 -1273
rect 610 -1323 652 -1289
rect 686 -1323 702 -1289
rect 610 -1339 702 -1323
<< polycont >>
rect -40 1285 -6 1319
rect 652 1285 686 1319
rect -40 591 -6 625
rect 652 591 686 625
rect -40 -631 -6 -597
rect 652 -631 686 -597
rect -40 -1323 -6 -1289
rect 652 -1323 686 -1289
<< locali >>
rect -140 1369 -80 1403
rect 896 1369 956 1403
rect -140 1347 -106 1369
rect 922 1347 956 1369
rect -56 1285 -40 1319
rect -6 1285 10 1319
rect 636 1285 652 1319
rect 686 1285 702 1319
rect -40 1221 -6 1285
rect 652 1201 686 1285
rect -56 591 -40 625
rect -6 591 10 625
rect 636 591 652 625
rect 686 591 702 625
rect -40 512 -5 591
rect 652 508 686 591
rect -40 -597 -6 -510
rect 652 -597 686 -518
rect -56 -631 -40 -597
rect -6 -631 10 -597
rect 636 -631 652 -597
rect 686 -631 702 -597
rect -40 -1289 -6 -1221
rect 652 -1289 687 -1209
rect -56 -1323 -40 -1289
rect -6 -1323 10 -1289
rect 636 -1323 652 -1289
rect 686 -1323 702 -1289
rect -140 -1456 -106 -1434
rect 922 -1456 956 -1434
rect -140 -1490 -80 -1456
rect 896 -1490 956 -1456
<< viali >>
rect 652 1369 686 1403
rect -40 1285 -6 1319
rect 652 1285 686 1319
rect -40 591 -6 625
rect 652 591 686 625
rect -40 -631 -6 -597
rect 652 -631 686 -597
rect -40 -1323 -6 -1289
rect 652 -1323 686 -1289
rect -40 -1490 -6 -1456
<< metal1 >>
rect 640 1403 698 1409
rect 640 1369 652 1403
rect 686 1369 698 1403
rect 640 1359 698 1369
rect -52 1319 6 1325
rect -52 1285 -40 1319
rect -6 1285 6 1319
rect -52 1279 6 1285
rect 640 1319 699 1359
rect 640 1285 652 1319
rect 686 1285 699 1319
rect 640 1283 699 1285
rect 640 1279 698 1283
rect -50 1228 6 1279
rect -59 849 -49 1228
rect 3 1226 13 1228
rect 3 850 73 1226
rect 3 849 13 850
rect 300 797 346 1238
rect 646 1226 695 1279
rect 571 1194 695 1226
rect 571 850 677 1194
rect 558 797 604 838
rect 300 751 383 797
rect 523 751 604 797
rect -52 625 6 631
rect -52 591 -40 625
rect -6 591 6 625
rect -52 585 6 591
rect -49 534 0 585
rect 28 531 38 535
rect -34 155 38 531
rect 91 155 101 535
rect 44 -109 198 -63
rect 44 -163 90 -109
rect -34 -164 90 -163
rect -34 -514 72 -164
rect -52 -539 72 -514
rect -52 -591 4 -539
rect -52 -597 6 -591
rect -52 -631 -40 -597
rect -6 -631 6 -597
rect -52 -637 6 -631
rect 300 -759 346 751
rect 640 625 698 631
rect 640 591 652 625
rect 686 591 698 625
rect 640 585 698 591
rect 644 570 695 585
rect 644 532 692 570
rect 573 506 692 532
rect 573 156 679 506
rect 564 97 598 156
rect 504 63 598 97
rect 546 -537 556 -162
rect 608 -518 679 -162
rect 608 -537 695 -518
rect 573 -538 695 -537
rect 646 -591 695 -538
rect 640 -597 698 -591
rect 640 -631 652 -597
rect 686 -631 698 -597
rect 640 -637 698 -631
rect 42 -796 130 -760
rect 42 -855 78 -796
rect 252 -797 346 -759
rect -32 -886 78 -855
rect -32 -1214 74 -886
rect -49 -1231 74 -1214
rect -49 -1283 0 -1231
rect 300 -1242 346 -797
rect 633 -855 643 -853
rect 578 -1231 643 -855
rect 633 -1233 643 -1231
rect 695 -1233 705 -853
rect 646 -1283 695 -1233
rect -52 -1289 6 -1283
rect -52 -1323 -40 -1289
rect -6 -1323 6 -1289
rect -52 -1456 6 -1323
rect 640 -1289 698 -1283
rect 640 -1323 652 -1289
rect 686 -1323 698 -1289
rect 640 -1329 698 -1323
rect -52 -1490 -40 -1456
rect -6 -1490 6 -1456
rect -52 -1496 6 -1490
<< via1 >>
rect -49 849 3 1228
rect 38 155 91 535
rect 556 -537 608 -162
rect 643 -1233 695 -853
<< metal2 >>
rect -49 1229 3 1238
rect -50 1228 3 1229
rect -50 850 -49 1228
rect -49 735 3 849
rect 641 735 697 742
rect -62 675 -53 735
rect 7 675 16 735
rect 639 733 699 735
rect 639 677 641 733
rect 697 677 699 733
rect -50 -648 -2 675
rect 38 535 91 545
rect 38 145 91 155
rect 40 106 90 145
rect 40 37 89 106
rect 40 -12 607 37
rect 558 -152 607 -12
rect 556 -162 608 -152
rect 556 -547 608 -537
rect -54 -657 2 -648
rect 639 -655 699 677
rect -54 -722 2 -713
rect 630 -715 639 -655
rect 699 -715 708 -655
rect 639 -853 699 -715
rect 639 -892 643 -853
rect 695 -892 699 -853
rect 643 -1243 695 -1233
<< via2 >>
rect -53 675 7 735
rect 641 677 697 733
rect -54 -713 2 -657
rect 639 -715 699 -655
<< metal3 >>
rect -58 735 12 740
rect 636 735 702 738
rect -58 675 -53 735
rect 7 733 702 735
rect 7 677 641 733
rect 697 677 702 733
rect 7 675 702 677
rect -58 670 12 675
rect 636 672 702 675
rect -59 -655 7 -652
rect 634 -655 704 -650
rect -59 -657 639 -655
rect -59 -713 -54 -657
rect 2 -713 639 -657
rect -59 -715 639 -713
rect 699 -715 704 -655
rect -59 -718 7 -715
rect 634 -720 704 -715
use sky130_fd_pr__pfet_01v8_2ZH9AN  sky130_fd_pr__pfet_01v8_2ZH9AN_0
transform 1 0 625 0 1 -1042
box -109 -262 109 262
use sky130_fd_pr__pfet_01v8_2ZH9AN  sky130_fd_pr__pfet_01v8_2ZH9AN_1
transform 1 0 21 0 1 -1042
box -109 -262 109 262
use sky130_fd_pr__pfet_01v8_2ZH9AN  sky130_fd_pr__pfet_01v8_2ZH9AN_2
transform 1 0 625 0 1 344
box -109 -262 109 262
use sky130_fd_pr__pfet_01v8_2ZH9AN  sky130_fd_pr__pfet_01v8_2ZH9AN_3
transform 1 0 21 0 1 -350
box -109 -262 109 262
use sky130_fd_pr__pfet_01v8_2ZH9AN  sky130_fd_pr__pfet_01v8_2ZH9AN_4
transform 1 0 625 0 1 -350
box -109 -262 109 262
use sky130_fd_pr__pfet_01v8_2ZH9AN  sky130_fd_pr__pfet_01v8_2ZH9AN_5
transform 1 0 21 0 1 344
box -109 -262 109 262
use sky130_fd_pr__pfet_01v8_2ZH9AN  sky130_fd_pr__pfet_01v8_2ZH9AN_6
transform 1 0 625 0 1 1038
box -109 -262 109 262
use sky130_fd_pr__pfet_01v8_2ZH9AN  sky130_fd_pr__pfet_01v8_2ZH9AN_7
transform 1 0 21 0 1 1038
box -109 -262 109 262
use sky130_fd_pr__pfet_01v8_SDE6B7  sky130_fd_pr__pfet_01v8_SDE6B7_0
transform 1 0 323 0 1 1038
box -323 -300 323 300
use sky130_fd_pr__pfet_01v8_SDE6B7  sky130_fd_pr__pfet_01v8_SDE6B7_1
transform 1 0 323 0 1 344
box -323 -300 323 300
use sky130_fd_pr__pfet_01v8_SDE6B7  sky130_fd_pr__pfet_01v8_SDE6B7_2
transform 1 0 323 0 1 -350
box -323 -300 323 300
use sky130_fd_pr__pfet_01v8_SDE6B7  sky130_fd_pr__pfet_01v8_SDE6B7_3
transform 1 0 323 0 1 -1042
box -323 -300 323 300
<< labels >>
flabel metal1 667 1348 667 1348 0 FreeSans 160 0 0 0 VDD
port 0 nsew
flabel metal2 62 77 62 77 0 FreeSans 160 0 0 0 D1
port 1 nsew
flabel metal1 582 108 585 109 0 FreeSans 160 0 0 0 D2
port 2 nsew
flabel metal2 673 61 673 61 0 FreeSans 160 0 0 0 D5
port 3 nsew
<< end >>

# cell sky130_fd_pr__pfet_01v8_2ZH9AN: kit device sky130_fd_pr__pfet_01v8, w 2 l 0.15 m 1 nf 1 diffcov 100 polycov 100 guard 0 glc 1 grc 1 gtc 1 gbc 1 tbcov 100 rlcov 100 topc 0 botc 0 poverlap 0 doverlap 1 lmin 0.15 wmin 0.42 compatible {sky130_fd_pr__pfet_01v8 sky130_fd_pr__pfet_01v8_lvt sky130_fd_pr__pfet_01v8_hvt sky130_fd_pr__pfet_g5v0d10v5} full_metal 1 viasrc 100 viadrn 100 viagate 100 viagb 0 viagr 0 viagl 0 viagt 0

# cell sky130_fd_pr__pfet_01v8_SDE6B7: kit device sky130_fd_pr__pfet_01v8, w 2 l 1 m 1 nf 2 diffcov 100 polycov 100 guard 0 glc 1 grc 1 gtc 1 gbc 1 tbcov 100 rlcov 100 topc 1 botc 1 poverlap 0 doverlap 1 lmin 0.15 wmin 0.42 compatible {sky130_fd_pr__pfet_01v8 sky130_fd_pr__pfet_01v8_lvt sky130_fd_pr__pfet_01v8_hvt sky130_fd_pr__pfet_g5v0d10v5} full_metal 1 viasrc 100 viadrn 100 viagate 70 viagb 0 viagr 0 viagl 0 viagt 0

# cell sky130_fd_pr__nfet_01v8_4HFSKE: kit device sky130_fd_pr__nfet_01v8, w 2 l 0.15 m 1 nf 1 diffcov 100 polycov 100 guard 0 glc 1 grc 1 gtc 1 gbc 1 tbcov 100 rlcov 100 topc 0 botc 0 poverlap 0 doverlap 1 lmin 0.15 wmin 0.42 compatible {sky130_fd_pr__nfet_01v8 sky130_fd_pr__nfet_01v8_lvt sky130_fd_bs_flash__special_sonosfet_star sky130_fd_pr__nfet_g5v0d10v5 sky130_fd_pr__nfet_05v0_nvt sky130_fd_pr__nfet_03v3_nvt} full_metal 1 viasrc 100 viadrn 100 viagate 100 viagb 0 viagr 0 viagl 0 viagt 0

# cell sky130_fd_pr__nfet_01v8_27FZYL: kit device sky130_fd_pr__nfet_01v8, w 2 l 1 m 1 nf 2 diffcov 100 polycov 100 guard 0 glc 1 grc 1 gtc 1 gbc 1 tbcov 100 rlcov 100 topc 0 botc 1 poverlap 0 doverlap 0 lmin 0.15 wmin 0.42 compatible {sky130_fd_pr__nfet_01v8 sky130_fd_pr__nfet_01v8_lvt sky130_fd_bs_flash__special_sonosfet_star sky130_fd_pr__nfet_g5v0d10v5 sky130_fd_pr__nfet_05v0_nvt sky130_fd_pr__nfet_03v3_nvt} full_metal 1 viasrc 100 viadrn 100 viagate 100 viagb 0 viagr 0 viagl 0 viagt 0

# cell sky130_fd_pr__nfet_01v8_Q6296P: kit device sky130_fd_pr__nfet_01v8, w 2 l 1 m 1 nf 2 diffcov 100 polycov 100 guard 0 glc 1 grc 1 gtc 1 gbc 1 tbcov 100 rlcov 100 topc 1 botc 0 poverlap 0 doverlap 0 lmin 0.15 wmin 0.42 compatible {sky130_fd_pr__nfet_01v8 sky130_fd_pr__nfet_01v8_lvt sky130_fd_bs_flash__special_sonosfet_star sky130_fd_pr__nfet_g5v0d10v5 sky130_fd_pr__nfet_05v0_nvt sky130_fd_pr__nfet_03v3_nvt} full_metal 1 viasrc 100 viadrn 100 viagate 100 viagb 0 viagr 0 viagl 0 viagt 0

# cell sky130_fd_pr__nfet_01v8_TC9PLT: kit device sky130_fd_pr__nfet_01v8, w 2 l 0.150 m 1 nf 1 diffcov 100 polycov 100 guard 0 glc 1 grc 1 gtc 1 gbc 1 tbcov 100 rlcov 100 topc 0 botc 0 poverlap 0 doverlap 1 lmin 0.15 wmin 0.42 compatible {sky130_fd_pr__nfet_01v8 sky130_fd_pr__nfet_01v8_lvt sky130_fd_bs_flash__special_sonosfet_star sky130_fd_pr__nfet_g5v0d10v5 sky130_fd_pr__nfet_05v0_nvt sky130_fd_pr__nfet_03v3_nvt} full_metal 1 viasrc 100 viadrn 100 viagate 100 viagb 0 viagr 0 viagl 0 viagt 0

# cell sky130_fd_pr__nfet_01v8_6MBC9T: kit device sky130_fd_pr__nfet_01v8, w 1 l 0.8 m 1 nf 2 diffcov 100 polycov 100 guard 0 glc 1 grc 1 gtc 1 gbc 1 tbcov 100 rlcov 100 topc 1 botc 1 poverlap 0 doverlap 1 lmin 0.15 wmin 0.42 compatible {sky130_fd_pr__nfet_01v8 sky130_fd_pr__nfet_01v8_lvt sky130_fd_bs_flash__special_sonosfet_star sky130_fd_pr__nfet_g5v0d10v5 sky130_fd_pr__nfet_05v0_nvt sky130_fd_pr__nfet_03v3_nvt} full_metal 1 viasrc 100 viadrn 100 viagate 100 viagb 0 viagr 0 viagl 0 viagt 0

# cell sky130_fd_pr__nfet_01v8_SJFSNB: kit device sky130_fd_pr__nfet_01v8, w 1 l 0.15 m 1 nf 1 diffcov 100 polycov 100 guard 0 glc 1 grc 1 gtc 1 gbc 1 tbcov 100 rlcov 100 topc 0 botc 0 poverlap 0 doverlap 1 lmin 0.15 wmin 0.42 compatible {sky130_fd_pr__nfet_01v8 sky130_fd_pr__nfet_01v8_lvt sky130_fd_bs_flash__special_sonosfet_star sky130_fd_pr__nfet_g5v0d10v5 sky130_fd_pr__nfet_05v0_nvt sky130_fd_pr__nfet_03v3_nvt} full_metal 1 viasrc 100 viadrn 100 viagate 100 viagb 0 viagr 0 viagl 0 viagt 0

# cell sky130_fd_pr__pfet_01v8_2XUZHN: kit device sky130_fd_pr__pfet_01v8, w 1 l 0.15 m 1 nf 1 diffcov 100 polycov 100 guard 0 glc 1 grc 1 gtc 1 gbc 1 tbcov 100 rlcov 100 topc 0 botc 0 poverlap 0 doverlap 1 lmin 0.15 wmin 0.42 compatible {sky130_fd_pr__pfet_01v8 sky130_fd_pr__pfet_01v8_lvt sky130_fd_pr__pfet_01v8_hvt sky130_fd_pr__pfet_g5v0d10v5} full_metal 1 viasrc 100 viadrn 100 viagate 100 viagb 0 viagr 0 viagl 0 viagt 0

# cell sky130_fd_pr__pfet_01v8_BHVYY6: kit device sky130_fd_pr__pfet_01v8, w 1 l 0.5 m 1 nf 2 diffcov 100 polycov 100 guard 0 glc 1 grc 1 gtc 1 gbc 1 tbcov 100 rlcov 100 topc 1 botc 1 poverlap 0 doverlap 1 lmin 0.15 wmin 0.42 compatible {sky130_fd_pr__pfet_01v8 sky130_fd_pr__pfet_01v8_lvt sky130_fd_pr__pfet_01v8_hvt sky130_fd_pr__pfet_g5v0d10v5} full_metal 1 viasrc 100 viadrn 100 viagate 100 viagb 0 viagr 0 viagl 0 viagt 0
